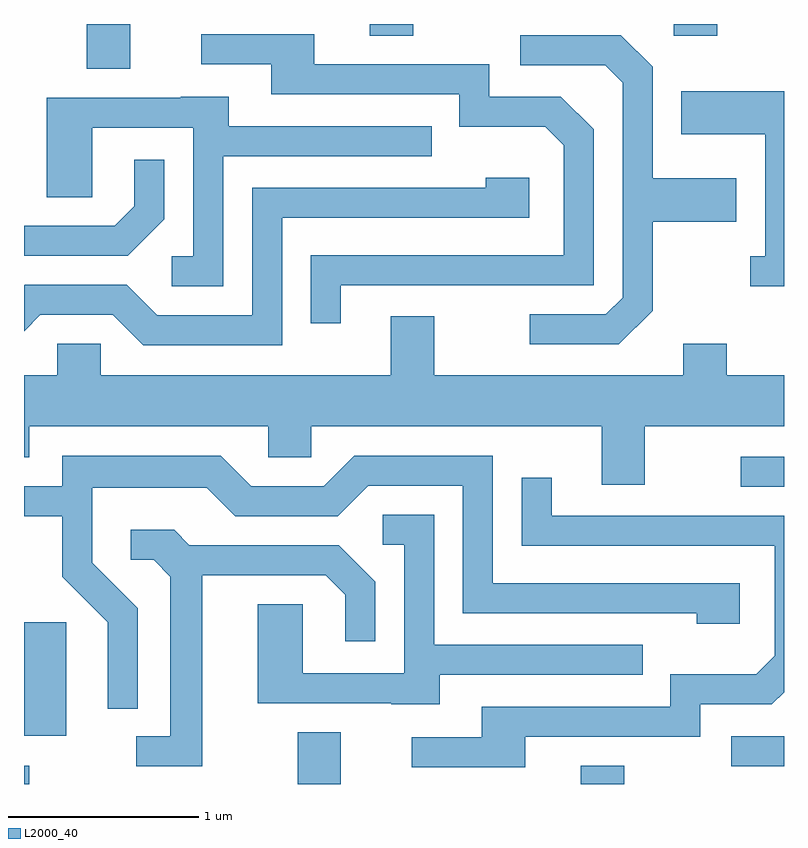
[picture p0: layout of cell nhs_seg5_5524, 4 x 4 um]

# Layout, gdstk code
import gdstk
lib = gdstk.Library(unit=1e-6, precision=1e-09)
def R(c, l, rs):  # rectangles x0, y0, x1, y1
    for r in rs: c.add(gdstk.rectangle(r[:2], r[2:], *l))
def P(c, l, *ps):  # polygons
    for p in ps: c.add(gdstk.Polygon(p, *l))
L2000_40 = (2000, 40)

nhs_seg5_5524 = lib.new_cell('nhs_seg5_5524')
R(nhs_seg5_5524, L2000_40, [(349.611,1406.072,349.639,1406.169), (351.051,1406.072,351.279,1406.344), (352.541,1406.072,352.769,1406.169), (353.333,1406.166,353.611,1406.324), (349.611,1406.326,349.834,1406.924), (353.383,1407.636,353.611,1407.794), (349.941,1409.836,350.169,1410.072), (351.431,1410.011,351.659,1410.072), (353.031,1410.011,353.259,1410.072)])
P(nhs_seg5_5524, L2000_40, [(351.279,1408.696),(352.609,1408.696),(352.609,1409.517),(352.437,1409.689),(352.059,1409.689),(352.059,1409.859),(351.139,1409.859),(351.139,1410.019),(350.543,1410.019),(350.543,1409.861),(350.911,1409.861),(350.911,1409.701),(351.901,1409.701),(351.901,1409.531),(352.354,1409.531),(352.451,1409.434),(352.451,1408.854),(351.121,1408.854),(351.121,1408.498),(351.279,1408.498)],
  [(352.919,1408.564),(352.919,1409.031),(353.359,1409.031),(353.359,1409.259),(352.919,1409.259),(352.919,1409.847),(352.752,1410.014),(352.223,1410.014),(352.223,1409.856),(352.669,1409.856),(352.761,1409.764),(352.761,1408.632),(352.674,1408.544),(352.273,1408.544),(352.273,1408.386),(352.742,1408.386)],
  [(353.611,1409.719),(353.071,1409.719),(353.071,1409.491),(353.511,1409.491),(353.511,1408.849),(353.433,1408.849),(353.433,1408.691),(353.611,1408.691)],
  [(350.659,1409.376),(351.758,1409.376),(351.758,1409.534),(350.689,1409.534),(350.689,1409.689),(350.435,1409.689),(350.435,1409.684),(349.731,1409.684),(349.731,1409.161),(349.969,1409.161),(349.969,1409.526),(350.501,1409.526),(350.501,1408.849),(350.388,1408.849),(350.388,1408.691),(350.659,1408.691)],
  [(350.349,1409.044),(350.349,1409.358),(350.191,1409.358),(350.191,1409.112),(350.089,1409.009),(349.611,1409.009),(349.611,1408.851),(350.157,1408.851)],
  [(350.969,1409.051),(352.269,1409.051),(352.269,1409.264),(352.041,1409.264),(352.041,1409.209),(350.811,1409.209),(350.811,1408.539),(350.312,1408.539),(350.152,1408.699),(349.614,1408.699),(349.611,1408.696),(349.611,1408.455),(349.697,1408.541),(350.079,1408.541),(350.239,1408.381),(350.969,1408.381)],
  [(352.879,1407.956),(353.611,1407.956),(353.611,1408.224),(353.309,1408.224),(353.309,1408.389),(353.081,1408.389),(353.081,1408.224),(351.769,1408.224),(351.769,1408.534),(351.541,1408.534),(351.541,1408.224),(350.014,1408.224),(350.014,1408.389),(349.786,1408.389),(349.786,1408.224),(349.611,1408.224),(349.611,1407.791),(349.639,1407.791),(349.639,1407.956),(350.896,1407.956),(350.896,1407.791),(351.124,1407.791),(351.124,1407.956),(352.651,1407.956),(352.651,1407.646),(352.879,1407.646)],
  [(350.209,1406.997),(349.969,1407.237),(349.969,1407.631),(350.574,1407.631),(350.724,1407.481),(351.262,1407.481),(351.422,1407.641),(351.921,1407.641),(351.921,1406.971),(353.151,1406.971),(353.151,1406.916),(353.379,1406.916),(353.379,1407.129),(352.079,1407.129),(352.079,1407.799),(351.349,1407.799),(351.189,1407.639),(350.807,1407.639),(350.647,1407.799),(349.811,1407.799),(349.811,1407.639),(349.611,1407.639),(349.611,1407.481),(349.811,1407.481),(349.811,1407.164),(350.051,1406.924),(350.051,1406.468),(350.209,1406.468)],
  [(352.249,1406.321),(353.169,1406.321),(353.169,1406.491),(353.547,1406.491),(353.611,1406.555),(353.611,1407.484),(352.389,1407.484),(352.389,1407.683),(352.231,1407.683),(352.231,1407.326),(353.561,1407.326),(353.561,1406.747),(353.464,1406.649),(353.011,1406.649),(353.011,1406.479),(352.021,1406.479),(352.021,1406.319),(351.653,1406.319),(351.653,1406.161),(352.249,1406.161)],
  [(351.799,1406.646),(352.868,1406.646),(352.868,1406.804),(351.769,1406.804),(351.769,1407.489),(351.498,1407.489),(351.498,1407.331),(351.611,1407.331),(351.611,1406.654),(351.079,1406.654),(351.079,1407.019),(350.841,1407.019),(350.841,1406.496),(351.545,1406.496),(351.545,1406.491),(351.799,1406.491)],
  [(350.549,1407.171),(351.199,1407.171),(351.301,1407.069),(351.301,1406.823),(351.459,1406.823),(351.459,1407.137),(351.267,1407.329),(350.482,1407.329),(350.402,1407.409),(350.173,1407.409),(350.173,1407.251),(350.294,1407.251),(350.381,1407.164),(350.381,1406.324),(350.203,1406.324),(350.203,1406.166),(350.549,1406.166)])

lib.write_gds('nhs_seg5_5524.gds')
